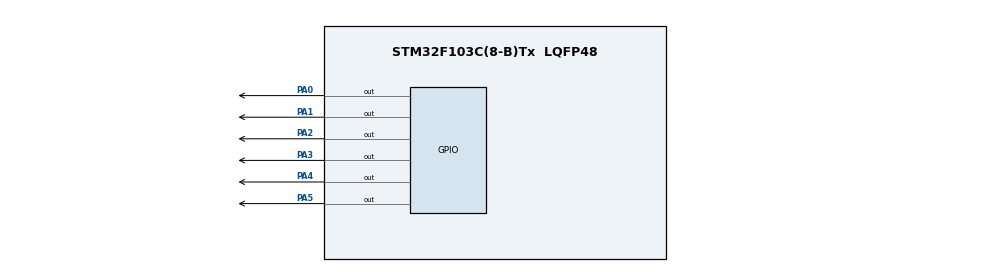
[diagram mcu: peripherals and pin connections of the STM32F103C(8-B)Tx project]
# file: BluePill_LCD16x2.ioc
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Mcu.Family=STM32F1
Mcu.Name=STM32F103C(8-B)Tx
Mcu.Package=LQFP48
NVIC.PriorityGroup=NVIC_PRIORITYGROUP_4
PA0-WKUP.Signal=GPIO_Output
PA1.Signal=GPIO_Output
PA13.Mode=Serial_Wire
PA13.Signal=SYS_JTMS-SWDIO
PA14.Mode=Serial_Wire
PA14.Signal=SYS_JTCK-SWCLK
PA2.Signal=GPIO_Output
PA3.Signal=GPIO_Output
PA4.Signal=GPIO_Output
PA5.Signal=GPIO_Output
ProjectManager.HeapSize=0x200
ProjectManager.StackSize=0x400
ProjectManager.TargetToolchain=STM32CubeIDE
RCC.APB1Freq_Value=8000000
RCC.APB2Freq_Value=8000000
board=custom

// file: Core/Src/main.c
/* USER CODE BEGIN Header */
/**
  ******************************************************************************
  * @file           : main.c
  * @brief          : Main program body
  ******************************************************************************
  * @attention
  *
  * Copyright (c) 2026 STMicroelectronics.
  * All rights reserved.
  *
  * This software is licensed under terms that can be found in the LICENSE file
  * in the root directory of this software component.
  * If no LICENSE file comes with this software, it is provided AS-IS.
  *
  ******************************************************************************
  */
/* USER CODE END Header */
#include "main.h"

void SystemClock_Config(void);
static void MX_GPIO_Init(void);

/* USER CODE BEGIN 0 */
// LCD pin mapping
#define LCD_RS_PORT GPIOA
#define LCD_RS_PIN  GPIO_PIN_0

#define LCD_E_PORT  GPIOA
#define LCD_E_PIN   GPIO_PIN_1

#define LCD_D4_PORT GPIOA
#define LCD_D4_PIN  GPIO_PIN_2

#define LCD_D5_PORT GPIOA
#define LCD_D5_PIN  GPIO_PIN_3

#define LCD_D6_PORT GPIOA
#define LCD_D6_PIN  GPIO_PIN_4

#define LCD_D7_PORT GPIOA
#define LCD_D7_PIN  GPIO_PIN_5

static void LCD_Enable(void);
static void LCD_Send4Bits(uint8_t data);
static void LCD_SendCommand(uint8_t command);
static void LCD_SendData(uint8_t data);
static void LCD_Init(void);
static void LCD_Print(char *text);

static void LCD_Enable(void)
{
    HAL_GPIO_WritePin(LCD_E_PORT, LCD_E_PIN, GPIO_PIN_SET);
    HAL_Delay(1);

    HAL_GPIO_WritePin(LCD_E_PORT, LCD_E_PIN, GPIO_PIN_RESET);
    HAL_Delay(1);
}

static void LCD_Send4Bits(uint8_t data)
{
    HAL_GPIO_WritePin(LCD_D4_PORT, LCD_D4_PIN,
                      (data & 0x01) ? GPIO_PIN_SET : GPIO_PIN_RESET);

    HAL_GPIO_WritePin(LCD_D5_PORT, LCD_D5_PIN,
                      (data & 0x02) ? GPIO_PIN_SET : GPIO_PIN_RESET);

    HAL_GPIO_WritePin(LCD_D6_PORT, LCD_D6_PIN,
                      (data & 0x04) ? GPIO_PIN_SET : GPIO_PIN_RESET);

    HAL_GPIO_WritePin(LCD_D7_PORT, LCD_D7_PIN,
                      (data & 0x08) ? GPIO_PIN_SET : GPIO_PIN_RESET);

    LCD_Enable();
}

static void LCD_SendCommand(uint8_t command)
{
    HAL_GPIO_WritePin(LCD_RS_PORT, LCD_RS_PIN, GPIO_PIN_RESET);

    LCD_Send4Bits(command >> 4);
    LCD_Send4Bits(command & 0x0F);

    HAL_Delay(2);
}

static void LCD_SendData(uint8_t data)
{
    HAL_GPIO_WritePin(LCD_RS_PORT, LCD_RS_PIN, GPIO_PIN_SET);

    LCD_Send4Bits(data >> 4);
    LCD_Send4Bits(data & 0x0F);

    HAL_Delay(1);
}
static void LCD_Init(void)
{
    HAL_Delay(50);

    HAL_GPIO_WritePin(LCD_RS_PORT, LCD_RS_PIN, GPIO_PIN_RESET);
    HAL_GPIO_WritePin(LCD_E_PORT, LCD_E_PIN, GPIO_PIN_RESET);

    LCD_Send4Bits(0x03);
    HAL_Delay(5);

    LCD_Send4Bits(0x03);
    HAL_Delay(1);

    LCD_Send4Bits(0x03);
    HAL_Delay(1);

    LCD_Send4Bits(0x02);
    HAL_Delay(1);

    LCD_SendCommand(0x28); // 4-bit, 2-line, 5x8 font
    LCD_SendCommand(0x0C); // Display on, cursor off
    LCD_SendCommand(0x06); // Increment cursor
    LCD_SendCommand(0x01); // Clear display
    HAL_Delay(2);
}

static void LCD_Print(char *text)
{
    while (*text != '\0')
    {
        LCD_SendData((uint8_t)*text);
        text++;
    }
}
/* USER CODE END 0 */

int main(void)
{

  /* MCU Configuration--------------------------------------------------------*/

  /* Reset of all peripherals, Initializes the Flash interface and the Systick. */
  HAL_Init();

  /* Configure the system clock */
  SystemClock_Config();

  /* Initialize all configured peripherals */
  MX_GPIO_Init();
  /* USER CODE BEGIN 2 */
  LCD_Init();
  LCD_Print("Hello, STM32!");
  /* USER CODE END 2 */

  /* Infinite loop */
  while (1)
  {

  }
}

void SystemClock_Config(void)
{
  RCC_OscInitTypeDef RCC_OscInitStruct = {0};
  RCC_ClkInitTypeDef RCC_ClkInitStruct = {0};

  /** Initializes the RCC Oscillators according to the specified parameters
  * in the RCC_OscInitTypeDef structure.
  */
  RCC_OscInitStruct.OscillatorType = RCC_OSCILLATORTYPE_HSI;
  RCC_OscInitStruct.HSIState = RCC_HSI_ON;
  RCC_OscInitStruct.HSICalibrationValue = RCC_HSICALIBRATION_DEFAULT;
  RCC_OscInitStruct.PLL.PLLState = RCC_PLL_NONE;
  if (HAL_RCC_OscConfig(&RCC_OscInitStruct) != HAL_OK)
  {
    Error_Handler();
  }

  /** Initializes the CPU, AHB and APB buses clocks
  */
  RCC_ClkInitStruct.ClockType = RCC_CLOCKTYPE_HCLK|RCC_CLOCKTYPE_SYSCLK
                              |RCC_CLOCKTYPE_PCLK1|RCC_CLOCKTYPE_PCLK2;
  RCC_ClkInitStruct.SYSCLKSource = RCC_SYSCLKSOURCE_HSI;
  RCC_ClkInitStruct.AHBCLKDivider = RCC_SYSCLK_DIV1;
  RCC_ClkInitStruct.APB1CLKDivider = RCC_HCLK_DIV1;
  RCC_ClkInitStruct.APB2CLKDivider = RCC_HCLK_DIV1;

  if (HAL_RCC_ClockConfig(&RCC_ClkInitStruct, FLASH_LATENCY_0) != HAL_OK)
  {
    Error_Handler();
  }
}

static void MX_GPIO_Init(void)
{
  GPIO_InitTypeDef GPIO_InitStruct = {0};

  /* GPIO Ports Clock Enable */
  __HAL_RCC_GPIOA_CLK_ENABLE();

  /*Configure GPIO pin Output Level */
  HAL_GPIO_WritePin(GPIOA, GPIO_PIN_0|GPIO_PIN_1|GPIO_PIN_2|GPIO_PIN_3
                          |GPIO_PIN_4|GPIO_PIN_5, GPIO_PIN_RESET);

  /*Configure GPIO pins : PA0 PA1 PA2 PA3
                           PA4 PA5 */
  GPIO_InitStruct.Pin = GPIO_PIN_0|GPIO_PIN_1|GPIO_PIN_2|GPIO_PIN_3
                          |GPIO_PIN_4|GPIO_PIN_5;
  GPIO_InitStruct.Mode = GPIO_MODE_OUTPUT_PP;
  GPIO_InitStruct.Pull = GPIO_NOPULL;
  GPIO_InitStruct.Speed = GPIO_SPEED_FREQ_LOW;
  HAL_GPIO_Init(GPIOA, &GPIO_InitStruct);

}

void Error_Handler(void)
{
  __disable_irq();
  while (1)
  {
  }
}
